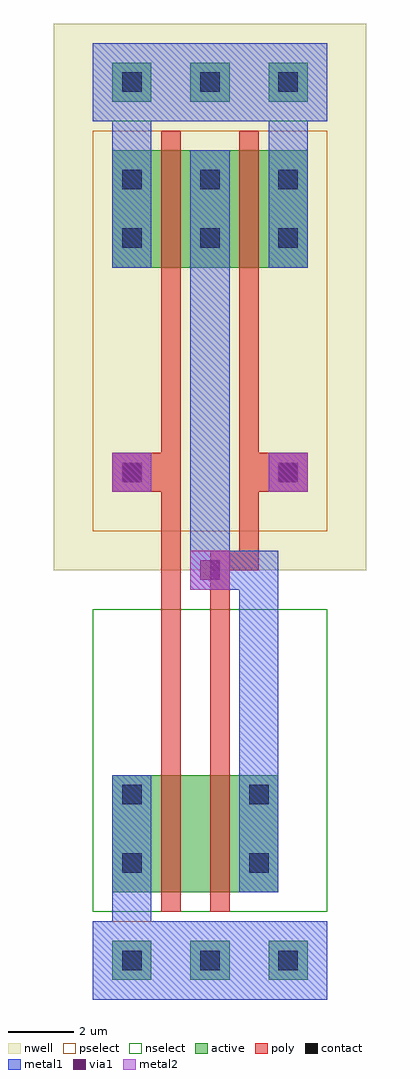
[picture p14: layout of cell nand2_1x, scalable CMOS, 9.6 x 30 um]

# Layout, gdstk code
import gdstk
lib = gdstk.Library(unit=1e-6, precision=1e-09)
def R(c, l, rs):  # rectangles x0, y0, x1, y1
    for r in rs: c.add(gdstk.rectangle(r[:2], r[2:], *l))
def A(c, l, x, y, w, h, nx, ny, dx, dy):  # array of equal rectangles
    R(c, l, [(x+i*dx, y+j*dy, x+i*dx+w, y+j*dy+h) for i in range(nx) for j in range(ny)])
def P(c, l, *ps):  # polygons
    for p in ps: c.add(gdstk.Polygon(p, *l))
contact = (25, 0)
nwell = (42, 0)
active = (43, 0)
pselect = (44, 0)
nselect = (45, 0)
poly = (46, 0)
metal1 = (49, 0)
via1 = (50, 0)
metal2 = (51, 0)

nand2_1x = lib.new_cell('nand2_1x')
A(nand2_1x, contact, 0.9, -0.3, 0.6, 0.6, 3, 2, 2.4, 22.2)
A(nand2_1x, contact, 0.9, 23.7, 0.6, 0.6, 3, 2, 2.4, 3)
R(nand2_1x, contact, [(0.9,2.7,1.5,3.3), (4.8,2.7,5.4,3.3), (0.9,4.8,1.5,5.4), (4.8,4.8,5.4,5.4), (0.9,14.7,1.5,15.3), (5.7,14.7,6.3,15.3)])
R(nand2_1x, nwell, [(-1.2,12,8.4,28.8)])
A(nand2_1x, active, 0.6, -0.6, 1.2, 1.2, 3, 2, 2.4, 27)
R(nand2_1x, active, [(0.6,2.1,5.7,5.7), (0.6,21.3,6.6,24.9)])
R(nand2_1x, pselect, [(0,-1.2,7.2,1.2), (0,13.2,7.2,25.5)])
R(nand2_1x, nselect, [(0,1.5,7.2,10.8), (0,25.8,7.2,28.2)])
P(nand2_1x, poly, [(2.7,25.5),(2.1,25.5),(2.1,15.6),(0.6,15.6),(0.6,14.4),(2.1,14.4),(2.1,1.5),(2.7,1.5)],
  [(6.6,15.6),(5.1,15.6),(5.1,25.5),(4.5,25.5),(4.5,12.6),(3.6,12.6),(3.6,1.5),(4.2,1.5),(4.2,12),(5.1,12),(5.1,14.4),(6.6,14.4)])
R(nand2_1x, metal1, [(0,-1.2,7.2,1.2), (0.6,14.4,1.8,15.6), (5.4,14.4,6.6,15.6), (0,25.8,7.2,28.2)])
P(nand2_1x, metal1, [(5.7,12.6),(4.2,12.6),(4.2,24.9),(3,24.9),(3,11.4),(4.5,11.4),(4.5,2.1),(5.7,2.1)],
  [(7.2,28.2),(0,28.2),(0,25.8),(0.6,25.8),(0.6,21.3),(1.8,21.3),(1.8,25.8),(5.4,25.8),(5.4,21.3),(6.6,21.3),(6.6,25.8),(7.2,25.8)],
  [(7.2,1.2),(1.8,1.2),(1.8,5.7),(0.6,5.7),(0.6,1.2),(0,1.2),(0,-1.2),(7.2,-1.2)])
R(nand2_1x, via1, [(3.3,11.7,3.9,12.3), (0.9,14.7,1.5,15.3), (5.7,14.7,6.3,15.3)])
R(nand2_1x, metal2, [(3,11.4,4.2,12.6), (3,11.4,4.2,12.6), (0.6,14.4,1.8,15.6), (0.6,14.4,1.8,15.6), (5.4,14.4,6.6,15.6), (5.4,14.4,6.6,15.6)])

lib.write_gds('nand2_1x.gds')
